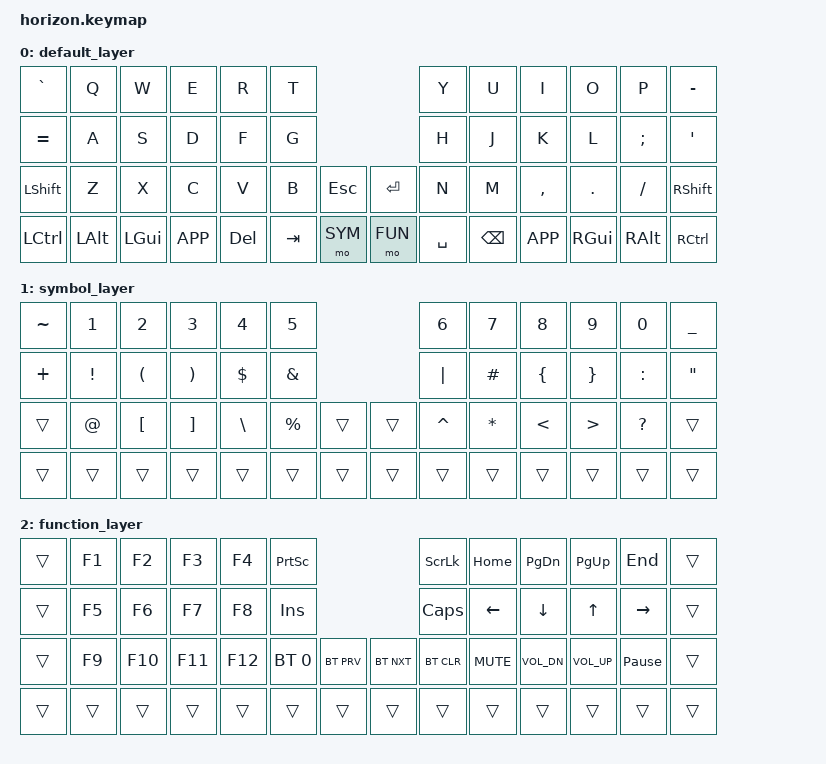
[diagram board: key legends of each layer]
/*
 * Copyright (c) 2021 The ZMK Contributors
 *
 * SPDX-License-Identifier: MIT
 */

#include <behaviors.dtsi>
#include <dt-bindings/zmk/keys.h>
#include <dt-bindings/zmk/bt.h>

#define DEF 0
#define SYM 1
#define FUN 2

&encoder0 {
    status = "okay";
};

/ {

          sensors {
         compatible = "zmk,keymap-sensors";
          sensors = <&left_encoder &right_encoder>;
    };

    keymap {
        compatible = "zmk,keymap";

        default_layer {
            // -----------------------------------------------------------------------------------------------------------------
            // |   `   |   Q   |   W   |   E   |   R   |   T   |---------------|   Y   |   U   |   I   |   O   |   P   |   -   |
            // |   =   |   A   |   S   |   D   |   F   |   G   |---------------|   H   |   J   |   K   |   L   |   ;   |   '   |
            // | LSHFT |   Z   |   X   |   C   |   V   |   B   |  ESC  | ENTER |   N   |   M   |   ,   |   .   |   /   | RSHFT |
            // | LCTRL | LALT  | LGUI  | K_APP |  DEL  |  TAB  |  SYM  |  FUN  | SPACE | BSPC  | K_APP | RGUI  | RALT  | RCTRL |
            bindings = <
                &kp GRAVE &kp Q    &kp W    &kp E     &kp R   &kp T                     &kp Y     &kp U    &kp I     &kp O    &kp P     &kp MINUS
                &kp EQUAL &kp A    &kp S    &kp D     &kp F   &kp G                     &kp H     &kp J    &kp K     &kp L    &kp SEMI  &kp SQT
                &kp LSHFT &kp Z    &kp X    &kp C     &kp V   &kp B   &kp ESC &kp ENTER &kp N     &kp M    &kp COMMA &kp DOT  &kp SLASH &kp RSHFT
                &kp LCTRL &kp LALT &kp LGUI &kp K_APP &kp DEL &kp TAB &mo SYM &mo FUN   &kp SPACE &kp BSPC &kp K_APP &kp RGUI &kp RALT  &kp RCTRL
            >;
        };

        symbol_layer {
            // -----------------------------------------------------------------------------------------------------------------
            // |   ~   |   1   |   2   |   3   |   4   |   5   |---------------|   6   |   7   |   8   |   9   |   0   |   _   |
            // |   +   |   !   |   (   |   )   |   $   |   &   |---------------|   |   |   #   |   {   |   }   |   :   |   "   |
            // |       |   @   |   [   |   ]   |   \   |   %   |       |       |   ^   |   *   |   <   |   >   |   ?   |       |
            // |       |       |       |       |       |       |       |       |       |       |       |       |       |       |
            bindings = <
                &kp TILDE &kp N1   &kp N2   &kp N3   &kp N4   &kp N5                  &kp N6    &kp N7    &kp N8   &kp N9   &kp N0    &kp UNDER
                &kp PLUS  &kp EXCL &kp LPAR &kp RPAR &kp DLLR &kp AMPS                &kp PIPE  &kp HASH  &kp LBRC &kp RBRC &kp COLON &kp DQT
                &trans    &kp AT   &kp LBKT &kp RBKT &kp BSLH &kp PRCNT &trans &trans &kp CARET &kp ASTRK &kp LT   &kp GT   &kp QMARK &trans
                &trans    &trans   &trans   &trans   &trans   &trans    &trans &trans &trans    &trans    &trans   &trans   &trans    &trans
            >;
        };

        function_layer {
            // -----------------------------------------------------------------------------------------------------------------
            // |       |  F1   |  F2   |  F3   |  F4   | PSCRN |---------------| SLCK  | HOME  | PG_DN | PG_UP |  END  |       |
            // |       |  F5   |  F6   |  F7   |  F8   |  INS  |---------------| CLCK  | LEFT  | DOWN  |  UP   | RIGHT |       |
            // |       |  F9   |  F10  |  F11  |  F12  |  BT0  |  BT-  |  BT+  | BTCLR | MUTE  | VOL-  | VOL+  | PS/BK |       |
            // |       |       |       |       |       |       |       |       |       |       |       |       |       |       |
            bindings = <
                &trans &kp F1  &kp F2   &kp F3   &kp F4  &kp PSCRN                          &kp SLCK   &kp HOME   &kp PG_DN    &kp PG_UP    &kp END         &trans
                &trans &kp F5  &kp F6   &kp F7   &kp F8  &kp INS                            &kp CLCK   &kp LEFT   &kp DOWN     &kp UP       &kp RIGHT       &trans
                &trans &kp F9  &kp F10  &kp F11  &kp F12 &bt BT_SEL 0 &bt BT_PRV &bt BT_NXT &bt BT_CLR &kp K_MUTE &kp K_VOL_DN &kp K_VOL_UP &kp PAUSE_BREAK &trans
                &trans &trans  &trans   &trans   &trans  &trans       &trans     &trans     &trans     &trans     &trans       &trans       &trans          &trans
            >;
        };
        
        encodermap {
		compatible = "zmk,encodermap";

		default_layer {
			bindings = <&C_MUTE>;   // pushbuttons
			sensor-bindings = <&inc_dec_kp C_VOL_UP C_VOL_DN>;   // encoders
                };

		symbol_layer {
			bindings = <&kp HOME>;   // pushbuttons
			sensor-bindings = <&inc_dec_kp PG_UP PG_DN>;   // encoders
                };
        };
    };
};
